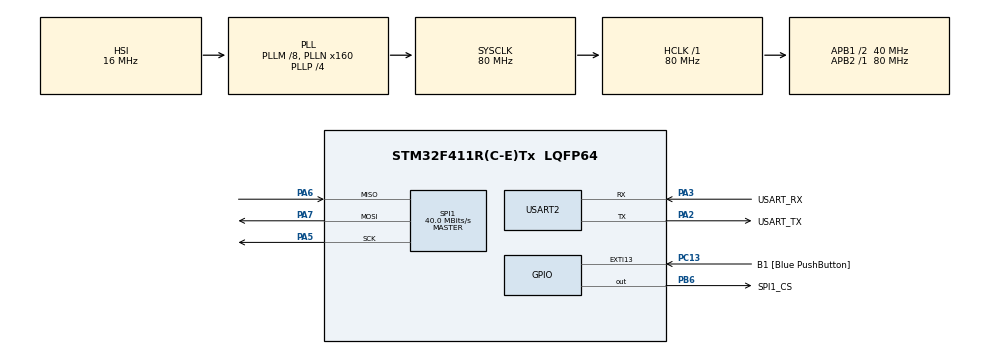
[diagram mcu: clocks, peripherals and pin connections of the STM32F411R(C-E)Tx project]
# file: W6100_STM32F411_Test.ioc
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Mcu.Family=STM32F4
Mcu.Name=STM32F411R(C-E)Tx
Mcu.Package=LQFP64
NVIC.PriorityGroup=NVIC_PRIORITYGROUP_0
NVIC.TIM1_UP_TIM10_IRQn=true\:0\:0\:false\:false\:true\:true\:true\:true
PA13.GPIO_Label=TMS
PA13.Mode=Serial_Wire
PA13.Signal=SYS_JTMS-SWDIO
PA14.GPIO_Label=TCK
PA14.Mode=Serial_Wire
PA14.Signal=SYS_JTCK-SWCLK
PA2.GPIO_Label=USART_TX
PA2.Mode=Asynchronous
PA2.Signal=USART2_TX
PA3.GPIO_Label=USART_RX
PA3.Mode=Asynchronous
PA3.Signal=USART2_RX
PA5.Mode=Full_Duplex_Master
PA5.Signal=SPI1_SCK
PA6.Mode=Full_Duplex_Master
PA6.Signal=SPI1_MISO
PA7.Mode=Full_Duplex_Master
PA7.Signal=SPI1_MOSI
PB3.GPIO_Label=SWO
PB3.Signal=SYS_JTDO-SWO
PB6.GPIO_Label=SPI1_CS
PB6.Signal=GPIO_Output
PC13-ANTI_TAMP.GPIO_Label=B1 [Blue PushButton]
PC13-ANTI_TAMP.GPIO_ModeDefaultEXTI=GPIO_MODE_IT_FALLING
PC13-ANTI_TAMP.Signal=GPXTI13
PC14-OSC32_IN.Mode=LSE-External-Oscillator
PC14-OSC32_IN.Signal=RCC_OSC32_IN
PC15-OSC32_OUT.Mode=LSE-External-Oscillator
PC15-OSC32_OUT.Signal=RCC_OSC32_OUT
PH0\ -\ OSC_IN.Mode=HSE-External-Clock-Source
PH0\ -\ OSC_IN.Signal=RCC_OSC_IN
PH1\ -\ OSC_OUT.Mode=HSE-External-Clock-Source
PH1\ -\ OSC_OUT.Signal=RCC_OSC_OUT
ProjectManager.HeapSize=0x10000
ProjectManager.StackSize=0x400
ProjectManager.TargetToolchain=MDK-ARM V5.32
RCC.48MHZClocksFreq_Value=80000000
RCC.AHBFreq_Value=80000000
RCC.APB1CLKDivider=RCC_HCLK_DIV2
RCC.APB1Freq_Value=40000000
RCC.APB1TimFreq_Value=80000000
RCC.APB2Freq_Value=80000000
RCC.APB2TimFreq_Value=80000000
RCC.CortexFreq_Value=80000000
RCC.FLatency-AdvancedSettings=FLASH_LATENCY_2
RCC.HCLKFreq_Value=80000000
RCC.HSE_VALUE=8000000
RCC.HSI_VALUE=16000000
RCC.PLLM=8
RCC.PLLN=160
RCC.PLLP=RCC_PLLP_DIV4
RCC.SYSCLKFreq_VALUE=80000000
RCC.SYSCLKSource=RCC_SYSCLKSOURCE_PLLCLK
RCC.VCOOutputFreq_Value=320000000
SPI1.CalculateBaudRate=40.0 MBits/s
SPI1.Direction=SPI_DIRECTION_2LINES
SPI1.Mode=SPI_MODE_MASTER
SPI1.VirtualType=VM_MASTER
TIM1.AutoReloadPreload=TIM_AUTORELOAD_PRELOAD_ENABLE
TIM1.Period=799
TIM1.Prescaler=100
USART2.VirtualMode=VM_ASYNC
VP_TIM1_VS_ClockSourceINT.Mode=Internal
board=NUCLEO-F411RE

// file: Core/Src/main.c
/* USER CODE BEGIN Header */
/**
  ******************************************************************************
  * @file           : main.c
  * @brief          : Main program body
  ******************************************************************************
  * @attention
  *
  * Copyright (c) 2023 STMicroelectronics.
  * All rights reserved.
  *
  * This software is licensed under terms that can be found in the LICENSE file
  * in the root directory of this software component.
  * If no LICENSE file comes with this software, it is provided AS-IS.
  *
  ******************************************************************************
  */
/* USER CODE END Header */
#include "main.h"

/* USER CODE BEGIN Includes */

#include <stdio.h>
#include <stdarg.h>

#include "wizchip_conf.h"
#include "w6x00_spi.h"

#include "dhcpv4.h"
#include "dns.h"
#include "timer.h"

/* USER CODE END Includes */

/* USER CODE BEGIN PD */

/* Clock */
#define PLL_SYS_KHZ (133 * 1000)

/* Buffer */
#define ETHERNET_BUF_MAX_SIZE (1024 * 2)

/* Socket */
#define SOCKET_TCP_SERVER 0
#define SOCKET_TCP_CLIENT 1
#define SOCKET_UDP 2
#define SOCKET_TCP_SERVER6 3
#define SOCKET_TCP_CLIENT6 4
#define SOCKET_UDP6 5
#define SOCKET_TCP_SERVER_DUAL 6
#define SOCKET_DHCP 7

/* Port */
#define PORT_TCP_SERVER 5000
#define PORT_TCP_CLIENT 5001
#define PORT_TCP_CLIENT_DEST    5002
#define PORT_UDP 5003

#define PORT_TCP_SERVER6 5004
#define PORT_TCP_CLIENT6 5005
#define PORT_TCP_CLIENT6_DEST 5006
#define PORT_UDP6 5007

#define PORT_TCP_SERVER_DUAL 5008

/* Retry count */
#define DHCP_RETRY_COUNT 5
#define DNS_RETRY_COUNT 5

/* USER CODE END PD */

SPI_HandleTypeDef hspi1;

TIM_HandleTypeDef htim1;

UART_HandleTypeDef huart2;

/* USER CODE BEGIN PV */

/* Network */

static wiz_NetInfo g_net_info =
    {
        .mac = {0x00, 0x08, 0xDC, 0x12, 0x34, 0x56}, // MAC address
        .ip = {192, 168, 11, 110},                     // IP address
        .sn = {255, 255, 255, 0},                    // Subnet Mask
        .gw = {192, 168, 11, 1},                     // Gateway
        .dns = {8, 8, 8, 8},                         // DNS server
        .lla = {0xfe, 0x80, 0x00, 0x00,
                0x00, 0x00, 0x00, 0x00,
                0x02, 0x08, 0xdc, 0xff,
                0xfe, 0x57, 0x57, 0x25},             // Link Local Address
        .gua = {0x00, 0x00, 0x00, 0x00,
                0x00, 0x00, 0x00, 0x00,
                0x00, 0x00, 0x00, 0x00,
                0x00, 0x00, 0x00, 0x00},             // Global Unicast Address
        .sn6 = {0xff, 0xff, 0xff, 0xff,
                0xff, 0xff, 0xff, 0xff,
                0x00, 0x00, 0x00, 0x00,
                0x00, 0x00, 0x00, 0x00},             // IPv6 Prefix
        .gw6 = {0x00, 0x00, 0x00, 0x00,
                0x00, 0x00, 0x00, 0x00,
                0x00, 0x00, 0x00, 0x00,
                0x00, 0x00, 0x00, 0x00},             // Gateway IPv6 Address
        .dns6 = {0x20, 0x01, 0x48, 0x60,
                0x48, 0x60, 0x00, 0x00,
                0x00, 0x00, 0x00, 0x00,
                0x00, 0x00, 0x88, 0x88},             // DNS6 server
        .ipmode = NETINFO_DHCP_V4
};
static uint8_t g_ethernet_buf[ETHERNET_BUF_MAX_SIZE] = {
    0,
}; // common buffer

/* DHCP */
static uint8_t g_dhcp_get_ip_flag = 0;

/* DNS */
uint8_t IP_TYPE = 0x1;
static uint8_t g_dns_target_domain[] = "www.wiznet.io";
static uint8_t g_dns_target_ip[4] = {
    0,
};
static uint8_t g_dns_get_ip_flag = 0;

/* Loopback */
static uint8_t g_tcp_server_buf[ETHERNET_BUF_MAX_SIZE] = {
    0,
};

/* Timer */
static volatile uint16_t g_msec_cnt = 0;

/* DHCP */
static void wizchip_dhcp_init(void);
static void wizchip_dhcp_assign(void);
static void wizchip_dhcp_conflict(void);

/* USER CODE END PV */

void SystemClock_Config(void);
static void MX_GPIO_Init(void);
static void MX_SPI1_Init(void);
static void MX_USART2_UART_Init(void);
static void MX_TIM1_Init(void);
/* USER CODE BEGIN PFP */
#define PUTCHAR_PROTOTYPE int fputc(int ch, FILE *f)

PUTCHAR_PROTOTYPE
{
    /* Implement your write code here, this is used by puts and printf for example */

    /* Place your implementation of fputc here */
    /* e.g. write a character to the USART */

    uint8_t c[1];
    c[0] = ch & 0x00FF;
    HAL_UART_Transmit(&huart2, &c[0], 1, 10);
    return ch;
}
/* USER CODE END PFP */

/* USER CODE BEGIN 0 */

static void repeating_timer_callback(void);

/* USER CODE END 0 */

int main(void)
{
  /* USER CODE BEGIN 1 */

	int retval = 0;
	uint8_t dhcp_retry = 0;
	uint8_t dns_retry = 0;
	uint32_t tick_start = 0;
  uint32_t tick_end = 0;
  uint32_t pub_cnt = 0;

  /* USER CODE END 1 */

  /* MCU Configuration--------------------------------------------------------*/

  /* Reset of all peripherals, Initializes the Flash interface and the Systick. */
  HAL_Init();

  /* USER CODE BEGIN Init */
	__HAL_UART_ENABLE_IT(&huart2, UART_IT_RXNE);
	__HAL_UART_ENABLE_IT(&huart2, UART_IT_TC);
  /* USER CODE END Init */

  /* Configure the system clock */
  SystemClock_Config();

  /* Initialize all configured peripherals */
  MX_GPIO_Init();
  MX_SPI1_Init();
  MX_USART2_UART_Init();
  MX_TIM1_Init();
  /* USER CODE BEGIN 2 */

		/* Initialize */

    //set_clock_khz();

		//wizchip_delay_ms(1000 * 3); // wait for 3 seconds

    wizchip_spi_initialize();
    //wizchip_cris_initialize();

    wizchip_reset();
    wizchip_initialize();
    wizchip_check();

		wizchip_1ms_timer_initialize(repeating_timer_callback);
		network_initialize(g_net_info);

	 if (g_net_info.ipmode == NETINFO_DHCP_V4) // DHCP
  {
    wizchip_dhcp_init();
    while (1)
    {
      retval = DHCPv4_run();
      if (retval == DHCP_IPV4_LEASED)
      {
        printf(" DHCP success\n");
        break;
      }
      else if (retval == DHCPV4_FAILED)
      {
        dhcp_retry++;
        if (dhcp_retry <= DHCP_RETRY_COUNT)
          printf(" DHCP timeout occurred and retry %d\n", dhcp_retry);
      }

      if (dhcp_retry > DHCP_RETRY_COUNT)
      {
        printf(" DHCP failed\n");
        DHCPv4_stop();
        while (1);
      }
    }
  }
  else
    print_network_information(g_net_info);

  /* USER CODE END 2 */

  /* Infinite loop */
  /* USER CODE BEGIN WHILE */
  while (1)
  {
		/* TCP server loopback test */
            if ((retval = loopback_tcps(SOCKET_TCP_SERVER, g_tcp_server_buf, PORT_TCP_SERVER, AS_IPV4)) < 0)
            {
                printf(" loopback_tcps error : %d\n", retval);

                while (1)
                    ;
            }
    }
    /* USER CODE END WHILE */

  }

void SystemClock_Config(void)
{
  RCC_OscInitTypeDef RCC_OscInitStruct = {0};
  RCC_ClkInitTypeDef RCC_ClkInitStruct = {0};

  /** Configure the main internal regulator output voltage
  */
  __HAL_RCC_PWR_CLK_ENABLE();
  __HAL_PWR_VOLTAGESCALING_CONFIG(PWR_REGULATOR_VOLTAGE_SCALE1);

  /** Initializes the RCC Oscillators according to the specified parameters
  * in the RCC_OscInitTypeDef structure.
  */
  RCC_OscInitStruct.OscillatorType = RCC_OSCILLATORTYPE_HSI;
  RCC_OscInitStruct.HSIState = RCC_HSI_ON;
  RCC_OscInitStruct.HSICalibrationValue = RCC_HSICALIBRATION_DEFAULT;
  RCC_OscInitStruct.PLL.PLLState = RCC_PLL_ON;
  RCC_OscInitStruct.PLL.PLLSource = RCC_PLLSOURCE_HSI;
  RCC_OscInitStruct.PLL.PLLM = 8;
  RCC_OscInitStruct.PLL.PLLN = 160;
  RCC_OscInitStruct.PLL.PLLP = RCC_PLLP_DIV4;
  RCC_OscInitStruct.PLL.PLLQ = 4;
  if (HAL_RCC_OscConfig(&RCC_OscInitStruct) != HAL_OK)
  {
    Error_Handler();
  }

  /** Initializes the CPU, AHB and APB buses clocks
  */
  RCC_ClkInitStruct.ClockType = RCC_CLOCKTYPE_HCLK|RCC_CLOCKTYPE_SYSCLK
                              |RCC_CLOCKTYPE_PCLK1|RCC_CLOCKTYPE_PCLK2;
  RCC_ClkInitStruct.SYSCLKSource = RCC_SYSCLKSOURCE_PLLCLK;
  RCC_ClkInitStruct.AHBCLKDivider = RCC_SYSCLK_DIV1;
  RCC_ClkInitStruct.APB1CLKDivider = RCC_HCLK_DIV2;
  RCC_ClkInitStruct.APB2CLKDivider = RCC_HCLK_DIV1;

  if (HAL_RCC_ClockConfig(&RCC_ClkInitStruct, FLASH_LATENCY_2) != HAL_OK)
  {
    Error_Handler();
  }
}

static void MX_SPI1_Init(void)
{

  /* SPI1 parameter configuration*/
  hspi1.Instance = SPI1;
  hspi1.Init.Mode = SPI_MODE_MASTER;
  hspi1.Init.Direction = SPI_DIRECTION_2LINES;
  hspi1.Init.DataSize = SPI_DATASIZE_8BIT;
  hspi1.Init.CLKPolarity = SPI_POLARITY_LOW;
  hspi1.Init.CLKPhase = SPI_PHASE_1EDGE;
  hspi1.Init.NSS = SPI_NSS_SOFT;
  hspi1.Init.BaudRatePrescaler = SPI_BAUDRATEPRESCALER_2;
  hspi1.Init.FirstBit = SPI_FIRSTBIT_MSB;
  hspi1.Init.TIMode = SPI_TIMODE_DISABLE;
  hspi1.Init.CRCCalculation = SPI_CRCCALCULATION_DISABLE;
  hspi1.Init.CRCPolynomial = 10;
  if (HAL_SPI_Init(&hspi1) != HAL_OK)
  {
    Error_Handler();
  }

}

static void MX_TIM1_Init(void)
{

  TIM_ClockConfigTypeDef sClockSourceConfig = {0};
  TIM_MasterConfigTypeDef sMasterConfig = {0};

  htim1.Instance = TIM1;
  htim1.Init.Prescaler = 100;
  htim1.Init.CounterMode = TIM_COUNTERMODE_UP;
  htim1.Init.Period = 799;
  htim1.Init.ClockDivision = TIM_CLOCKDIVISION_DIV1;
  htim1.Init.RepetitionCounter = 0;
  htim1.Init.AutoReloadPreload = TIM_AUTORELOAD_PRELOAD_ENABLE;
  if (HAL_TIM_Base_Init(&htim1) != HAL_OK)
  {
    Error_Handler();
  }
  sClockSourceConfig.ClockSource = TIM_CLOCKSOURCE_INTERNAL;
  if (HAL_TIM_ConfigClockSource(&htim1, &sClockSourceConfig) != HAL_OK)
  {
    Error_Handler();
  }
  sMasterConfig.MasterOutputTrigger = TIM_TRGO_RESET;
  sMasterConfig.MasterSlaveMode = TIM_MASTERSLAVEMODE_DISABLE;
  if (HAL_TIMEx_MasterConfigSynchronization(&htim1, &sMasterConfig) != HAL_OK)
  {
    Error_Handler();
  }

}

static void MX_USART2_UART_Init(void)
{

  huart2.Instance = USART2;
  huart2.Init.BaudRate = 115200;
  huart2.Init.WordLength = UART_WORDLENGTH_8B;
  huart2.Init.StopBits = UART_STOPBITS_1;
  huart2.Init.Parity = UART_PARITY_NONE;
  huart2.Init.Mode = UART_MODE_TX_RX;
  huart2.Init.HwFlowCtl = UART_HWCONTROL_NONE;
  huart2.Init.OverSampling = UART_OVERSAMPLING_16;
  if (HAL_UART_Init(&huart2) != HAL_OK)
  {
    Error_Handler();
  }

}

static void MX_GPIO_Init(void)
{
  GPIO_InitTypeDef GPIO_InitStruct = {0};

  /* GPIO Ports Clock Enable */
  __HAL_RCC_GPIOC_CLK_ENABLE();
  __HAL_RCC_GPIOH_CLK_ENABLE();
  __HAL_RCC_GPIOA_CLK_ENABLE();
  __HAL_RCC_GPIOB_CLK_ENABLE();

  /*Configure GPIO pin Output Level */
  HAL_GPIO_WritePin(SPI1_CS_GPIO_Port, SPI1_CS_Pin, GPIO_PIN_RESET);

  /*Configure GPIO pin : B1_Pin */
  GPIO_InitStruct.Pin = B1_Pin;
  GPIO_InitStruct.Mode = GPIO_MODE_IT_FALLING;
  GPIO_InitStruct.Pull = GPIO_NOPULL;
  HAL_GPIO_Init(B1_GPIO_Port, &GPIO_InitStruct);

  /*Configure GPIO pin : SPI1_CS_Pin */
  GPIO_InitStruct.Pin = SPI1_CS_Pin;
  GPIO_InitStruct.Mode = GPIO_MODE_OUTPUT_PP;
  GPIO_InitStruct.Pull = GPIO_NOPULL;
  GPIO_InitStruct.Speed = GPIO_SPEED_FREQ_LOW;
  HAL_GPIO_Init(SPI1_CS_GPIO_Port, &GPIO_InitStruct);

}

/* USER CODE BEGIN 4 */

/* DHCP */
static void wizchip_dhcp_init(void)
{
    printf(" DHCP client running\n");

    DHCPv4_init(SOCKET_DHCP, g_ethernet_buf);

    reg_dhcpv4_cbfunc(wizchip_dhcp_assign, wizchip_dhcp_assign, wizchip_dhcp_conflict);
}
static void wizchip_dhcp_assign(void)
{
    getIPfromDHCPv4(g_net_info.ip);
    getGWfromDHCPv4(g_net_info.gw);
    getSNfromDHCPv4(g_net_info.sn);
    getDNSfromDHCPv4(g_net_info.dns);

    g_net_info.ipmode = NETINFO_DHCP_V4;

    /* Network initialize */
    network_initialize(g_net_info); // apply from DHCP.

    print_network_information(g_net_info);
    printf(" DHCP leased time : %ld seconds\n", getDHCPv4Leasetime());
}

static void wizchip_dhcp_conflict(void)
{
    printf(" Conflict IP from DHCP\n");

    // halt or reset or any...
    while (1)
        ; // this example is halt.
}

/* Timer */
static void repeating_timer_callback(void)
{
    g_msec_cnt++;

    if (g_msec_cnt >= 1000 - 1)
    {
        g_msec_cnt = 0;

        DHCPv4_time_handler();
        DNS_time_handler();
    }
}

/* USER CODE END 4 */

void Error_Handler(void)
{
  __disable_irq();
  while (1)
  {
  }
}
